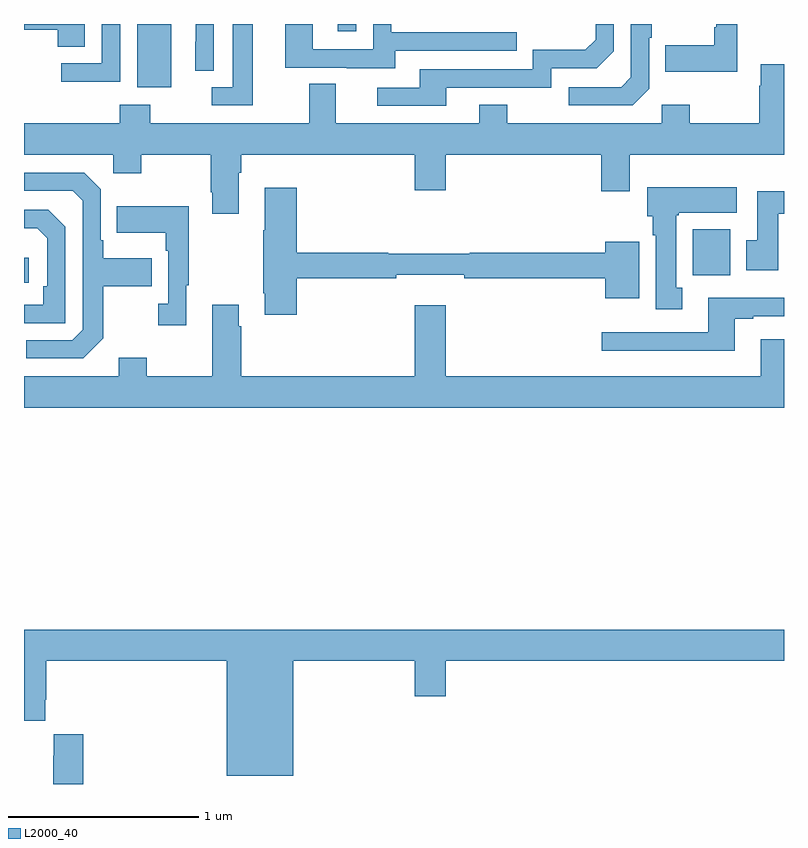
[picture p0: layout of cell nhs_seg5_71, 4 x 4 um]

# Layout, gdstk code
import gdstk
lib = gdstk.Library(unit=1e-6, precision=1e-09)
def R(c, l, rs):  # rectangles x0, y0, x1, y1
    for r in rs: c.add(gdstk.rectangle(r[:2], r[2:], *l))
def P(c, l, *ps):  # polygons
    for p in ps: c.add(gdstk.Polygon(p, *l))
L2000_40 = (2000, 40)

nhs_seg5_71 = lib.new_cell('nhs_seg5_71')
R(nhs_seg5_71, L2000_40, [(115,837.438,115.024,837.568), (118.52,837.476,118.717,837.718), (115.595,838.466,115.774,838.799), (116.651,838.761,116.748,838.799)])
P(nhs_seg5_71, L2000_40, [(118.753,838.799),(118.644,838.799),(118.644,838.783),(118.632,838.783),(118.632,838.687),(118.375,838.687),(118.375,838.547),(118.753,838.547)],
  [(115.998,838.799),(115.904,838.799),(115.904,838.706),(115.902,838.706),(115.902,838.552),(115.998,838.552)],
  [(115.506,838.799),(115.41,838.799),(115.41,838.593),(115.197,838.593),(115.197,838.495),(115.506,838.495)],
  [(117.223,838.464),(117.774,838.464),(117.774,838.566),(118.014,838.566),(118.104,838.656),(118.104,838.799),(118.008,838.799),(118.008,838.716),(117.955,838.663),(117.678,838.663),(117.678,838.56),(117.083,838.56),(117.083,838.464),(116.859,838.464),(116.859,838.368),(117.223,838.368)],
  [(115.321,838.799),(115,838.799),(115,838.769),(115.178,838.769),(115.178,838.678),(115.321,838.678)],
  [(116.953,838.659),(117.593,838.659),(117.593,838.755),(116.934,838.755),(116.934,838.799),(116.838,838.799),(116.838,838.665),(116.52,838.665),(116.52,838.799),(116.375,838.799),(116.375,838.569),(116.699,838.569),(116.699,838.565),(116.953,838.565)],
  [(116.203,838.799),(116.099,838.799),(116.099,838.467),(115.989,838.467),(115.989,838.371),(116.203,838.371)],
  [(118.29,838.458),(118.29,838.727),(118.303,838.727),(118.303,838.799),(118.194,838.799),(118.194,838.518),(118.143,838.467),(117.867,838.467),(117.867,838.371),(118.203,838.371)],
  [(116.131,838.016),(116.144,838.016),(116.144,838.112),(117.056,838.112),(117.056,837.924),(117.22,837.924),(117.22,838.112),(118.037,838.112),(118.037,837.918),(118.189,837.918),(118.189,838.112),(119,838.112),(119,838.588),(118.877,838.588),(118.877,838.475),(118.87,838.475),(118.87,838.276),(118.503,838.276),(118.503,838.375),(118.356,838.375),(118.356,838.276),(117.543,838.276),(117.543,838.375),(117.395,838.375),(117.395,838.276),(116.641,838.276),(116.641,838.484),(116.501,838.484),(116.501,838.276),(115.665,838.276),(115.665,838.375),(115.505,838.375),(115.505,838.276),(115,838.276),(115,838.112),(115.47,838.112),(115.47,838.013),(115.617,838.013),(115.617,838.112),(115.984,838.112),(115.984,837.913),(115.991,837.913),(115.991,837.801),(116.131,837.801)],
  [(115.417,837.145),(115.417,837.418),(115.673,837.418),(115.673,837.565),(115.417,837.565),(115.417,837.661),(115.404,837.661),(115.404,837.93),(115.317,838.017),(115,838.017),(115,837.921),(115.257,837.921),(115.308,837.87),(115.308,837.189),(115.254,837.135),(115.011,837.135),(115.011,837.039),(115.311,837.039)],
  [(118.465,837.41),(118.432,837.41),(118.432,837.793),(118.446,837.793),(118.446,837.806),(118.75,837.806),(118.75,837.94),(118.28,837.94),(118.28,837.786),(118.31,837.786),(118.31,837.686),(118.325,837.686),(118.325,837.297),(118.465,837.297)],
  [(116.435,837.46),(116.96,837.46),(116.96,837.479),(117.316,837.479),(117.316,837.46),(118.058,837.46),(118.058,837.356),(118.237,837.356),(118.237,837.652),(118.058,837.652),(118.058,837.596),(117.347,837.596),(117.347,837.589),(116.918,837.589),(116.918,837.596),(116.435,837.596),(116.435,837.937),(116.267,837.937),(116.267,837.713),(116.26,837.713),(116.26,837.382),(116.267,837.382),(116.267,837.27),(116.435,837.27)],
  [(118.969,837.8),(119,837.8),(119,837.919),(118.859,837.919),(118.859,837.66),(118.802,837.66),(118.802,837.504),(118.969,837.504)],
  [(115.855,837.425),(115.867,837.425),(115.867,837.841),(115.489,837.841),(115.489,837.701),(115.746,837.701),(115.746,837.605),(115.758,837.605),(115.758,837.326),(115.707,837.326),(115.707,837.213),(115.855,837.213)],
  [(115.218,837.732),(115.128,837.822),(115,837.822),(115,837.725),(115.069,837.725),(115.122,837.672),(115.122,837.418),(115.102,837.418),(115.102,837.321),(115,837.321),(115,837.225),(115.218,837.225)],
  [(118.741,837.249),(118.837,837.249),(118.837,837.261),(119,837.261),(119,837.358),(118.601,837.358),(118.601,837.177),(118.041,837.177),(118.041,837.08),(118.741,837.08)],
  [(119,837.139),(118.877,837.139),(118.877,836.944),(117.22,836.944),(117.22,837.319),(117.056,837.319),(117.056,836.944),(116.144,836.944),(116.144,837.209),(116.131,837.209),(116.131,837.322),(115.991,837.322),(115.991,836.944),(115.647,836.944),(115.647,837.043),(115.499,837.043),(115.499,836.944),(115,836.944),(115,836.78),(119,836.78)],
  [(116.416,835.448),(117.056,835.448),(117.056,835.26),(117.22,835.26),(117.22,835.448),(119,835.448),(119,835.612),(115,835.612),(115,835.131),(115.111,835.131),(115.111,835.243),(115.118,835.243),(115.118,835.448),(116.066,835.448),(116.066,834.842),(116.416,834.842)],
  [(115.313,835.06),(115.157,835.06),(115.157,834.947),(115.153,834.947),(115.153,834.799),(115.313,834.799)])

lib.write_gds('nhs_seg5_71.gds')
